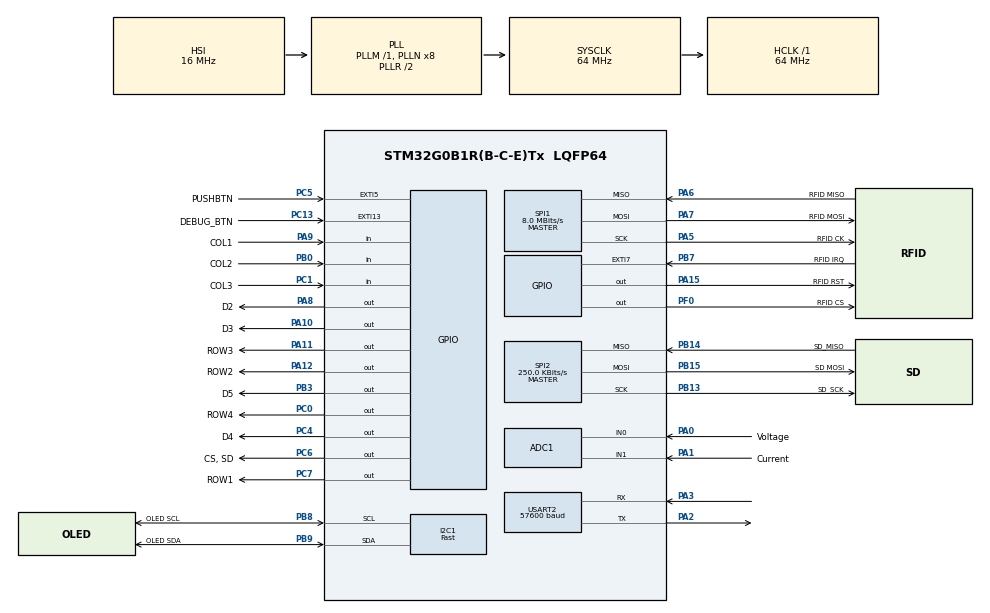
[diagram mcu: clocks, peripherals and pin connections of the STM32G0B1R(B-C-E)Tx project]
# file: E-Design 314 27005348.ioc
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ADC1.Channel-2\#ChannelRegularConversion=ADC_CHANNEL_0
ADC1.Channel-3\#ChannelRegularConversion=ADC_CHANNEL_1
ADC1.ClockPrescaler=ADC_CLOCK_SYNC_PCLK_DIV2
ADC1.DMAContinuousRequests=ENABLE
ADC1.DiscontinuousConvMode=DISABLE
ADC1.ExternalTrigConv=ADC_EXTERNALTRIG_T2_TRGO
ADC1.NbrOfConversion=2
ADC1.NbrOfConversionFlag=1
ADC1.Rank-2\#ChannelRegularConversion=1
ADC1.Rank-3\#ChannelRegularConversion=2
ADC1.SamplingTime-2\#ChannelRegularConversion=ADC_SAMPLINGTIME_COMMON_1
ADC1.SamplingTime-3\#ChannelRegularConversion=ADC_SAMPLINGTIME_COMMON_1
ADC1.SamplingTimeCommon1=ADC_SAMPLETIME_12CYCLES_5
ADC1.SamplingTimeCommon2=ADC_SAMPLETIME_12CYCLES_5
ADC1.SelectedChannel=ADC_CHANNEL_0|ADC_CHANNEL_1
ADC1.TriggerFrequencyMode=ADC_TRIGGER_FREQ_HIGH
ADC1.master=1
Dma.ADC1.0.Direction=DMA_PERIPH_TO_MEMORY
Dma.ADC1.0.EventEnable=DISABLE
Dma.ADC1.0.Instance=DMA1_Channel1
Dma.ADC1.0.MemDataAlignment=DMA_MDATAALIGN_HALFWORD
Dma.ADC1.0.MemInc=DMA_MINC_ENABLE
Dma.ADC1.0.Mode=DMA_CIRCULAR
Dma.ADC1.0.PeriphDataAlignment=DMA_PDATAALIGN_HALFWORD
Dma.ADC1.0.PeriphInc=DMA_PINC_DISABLE
Dma.ADC1.0.Polarity=HAL_DMAMUX_REQ_GEN_RISING
Dma.ADC1.0.Priority=DMA_PRIORITY_MEDIUM
Dma.ADC1.0.RequestNumber=1
Dma.ADC1.0.SignalID=NONE
Dma.ADC1.0.SyncEnable=DISABLE
Dma.ADC1.0.SyncPolarity=HAL_DMAMUX_SYNC_NO_EVENT
Dma.ADC1.0.SyncRequestNumber=1
Dma.ADC1.0.SyncSignalID=NONE
Dma.I2C1_TX.1.Direction=DMA_MEMORY_TO_PERIPH
Dma.I2C1_TX.1.EventEnable=DISABLE
Dma.I2C1_TX.1.Instance=DMA2_Channel1
Dma.I2C1_TX.1.MemDataAlignment=DMA_MDATAALIGN_BYTE
Dma.I2C1_TX.1.MemInc=DMA_MINC_ENABLE
Dma.I2C1_TX.1.Mode=DMA_NORMAL
Dma.I2C1_TX.1.PeriphDataAlignment=DMA_PDATAALIGN_BYTE
Dma.I2C1_TX.1.PeriphInc=DMA_PINC_DISABLE
Dma.I2C1_TX.1.Polarity=HAL_DMAMUX_REQ_GEN_RISING
Dma.I2C1_TX.1.Priority=DMA_PRIORITY_LOW
Dma.I2C1_TX.1.RequestNumber=1
Dma.I2C1_TX.1.SignalID=NONE
Dma.I2C1_TX.1.SyncEnable=DISABLE
Dma.I2C1_TX.1.SyncPolarity=HAL_DMAMUX_SYNC_NO_EVENT
Dma.I2C1_TX.1.SyncRequestNumber=1
Dma.I2C1_TX.1.SyncSignalID=NONE
Dma.Request0=ADC1
Dma.Request1=I2C1_TX
I2C1.I2C_Speed_Mode=I2C_Fast
I2C1.Timing=0x00C12166
Mcu.Family=STM32G0
Mcu.Name=STM32G0B1R(B-C-E)Tx
Mcu.Package=LQFP64
NVIC.DMA1_Ch4_7_DMA2_Ch1_5_DMAMUX1_OVR_IRQn=true\:0\:0\:false\:false\:true\:false\:true\:true
NVIC.DMA1_Channel1_IRQn=true\:1\:0\:true\:false\:true\:false\:true\:true
NVIC.EXTI4_15_IRQn=true\:1\:0\:true\:false\:true\:true\:true\:true
NVIC.I2C1_IRQn=true\:0\:0\:true\:false\:true\:true\:true\:true
NVIC.RTC_TAMP_IRQn=true\:0\:0\:false\:false\:true\:true\:true\:true
NVIC.USART2_LPUART2_IRQn=true\:0\:0\:true\:false\:true\:true\:true\:true
PA0.GPIO_Label=Voltage
PA0.Mode=IN0
PA0.Signal=ADC1_IN0
PA1.GPIO_Label=Current
PA1.Mode=IN1
PA1.Signal=ADC1_IN1
PA10.GPIO_Label=D3
PA10.Signal=GPIO_Output
PA11\ [PA9].GPIO_Label=ROW3
PA11\ [PA9].Signal=GPIO_Output
PA12\ [PA10].GPIO_Label=ROW2
PA12\ [PA10].Signal=GPIO_Output
PA15.GPIO_Label=RFID RST
PA15.Signal=GPIO_Output
PA2.Mode=Asynchronous
PA2.Signal=USART2_TX
PA3.Mode=Asynchronous
PA3.Signal=USART2_RX
PA5.GPIO_Label=RFID CK
PA5.Mode=Full_Duplex_Master
PA5.Signal=SPI1_SCK
PA6.GPIO_Label=RFID MISO
PA6.Mode=Full_Duplex_Master
PA6.Signal=SPI1_MISO
PA7.GPIO_Label=RFID MOSI
PA7.Mode=Full_Duplex_Master
PA7.Signal=SPI1_MOSI
PA8.GPIO_Label=D2
PA8.Signal=GPIO_Output
PA9.GPIO_Label=COL1
PA9.GPIO_PuPd=GPIO_PULLDOWN
PA9.Signal=GPIO_Input
PB0.GPIO_Label=COL2
PB0.GPIO_PuPd=GPIO_PULLDOWN
PB0.Signal=GPIO_Input
PB13.GPIO_Label=SD_SCK
PB13.GPIO_PuPd=GPIO_NOPULL
PB13.Mode=Full_Duplex_Master
PB13.PinState=GPIO_PIN_RESET
PB13.Signal=SPI2_SCK
PB14.GPIO_Label=SD_MISO
PB14.GPIO_PuPd=GPIO_NOPULL
PB14.Mode=Full_Duplex_Master
PB14.PinState=GPIO_PIN_RESET
PB14.Signal=SPI2_MISO
PB15.GPIO_Label=SD MOSI
PB15.GPIO_PuPd=GPIO_NOPULL
PB15.Mode=Full_Duplex_Master
PB15.PinState=GPIO_PIN_RESET
PB15.Signal=SPI2_MOSI
PB3.GPIO_Label=D5
PB3.Signal=GPIO_Output
PB7.GPIO_Label=RFID IRQ
PB7.GPIO_ModeDefaultEXTI=GPIO_MODE_IT_FALLING
PB7.GPIO_PuPd=GPIO_PULLUP
PB7.Signal=GPXTI7
PB8.GPIO_Label=OLED SCL
PB8.Mode=I2C
PB8.Signal=I2C1_SCL
PB9.GPIO_Label=OLED SDA
PB9.Mode=I2C
PB9.Signal=I2C1_SDA
PC0.GPIO_Label=ROW4
PC0.Signal=GPIO_Output
PC1.GPIO_Label=COL3
PC1.GPIO_PuPd=GPIO_PULLDOWN
PC1.Signal=GPIO_Input
PC13.GPIO_Label=DEBUG_BTN
PC13.GPIO_ModeDefaultEXTI=GPIO_MODE_IT_FALLING
PC13.Signal=GPXTI13
PC14-OSC32_IN\ (PC14).Mode=LSE-External-Oscillator
PC14-OSC32_IN\ (PC14).Signal=RCC_OSC32_IN
PC15-OSC32_OUT\ (PC15).Mode=LSE-External-Oscillator
PC15-OSC32_OUT\ (PC15).Signal=RCC_OSC32_OUT
PC4.GPIO_Label=D4
PC4.Signal=GPIO_Output
PC5.GPIO_Label=PUSHBTN
PC5.GPIO_ModeDefaultEXTI=GPIO_MODE_IT_FALLING
PC5.GPIO_PuPd=GPIO_PULLUP
PC5.Signal=GPXTI5
PC6.GPIO_Label=CS, SD
PC6.GPIO_PuPd=GPIO_PULLUP
PC6.PinState=GPIO_PIN_RESET
PC6.Signal=GPIO_Output
PC7.GPIO_Label=ROW1
PC7.Signal=GPIO_Output
PF0-OSC_IN\ (PF0).GPIO_Label=RFID CS
PF0-OSC_IN\ (PF0).GPIO_PuPd=GPIO_NOPULL
PF0-OSC_IN\ (PF0).Signal=GPIO_Output
ProjectManager.HeapSize=0x200
ProjectManager.StackSize=0x400
ProjectManager.TargetToolchain=STM32CubeIDE
RCC.ADCFreq_Value=64000000
RCC.AHBFreq_Value=64000000
RCC.CortexFreq_Value=64000000
RCC.EXTERNAL_CLOCK_VALUE=48000
RCC.HCLKFreq_Value=64000000
RCC.HSE_VALUE=8000000
RCC.HSI48_VALUE=48000000
RCC.HSI_VALUE=16000000
RCC.PLLP=RCC_PLLP_DIV32
RCC.RTCClockSelection=RCC_RTCCLKSOURCE_LSE
RCC.SYSCLKFreq_VALUE=64000000
RCC.SYSCLKSource=RCC_SYSCLKSOURCE_PLLCLK
RCC.USBFreq_Value=48000000
RCC.VCOOutputFreq_Value=128000000
RTC.WakeUpClock-WakeUp=RTC_WAKEUPCLOCK_RTCCLK_DIV16
RTC.WakeUpCounter-WakeUp=1023
SPI1.BaudRatePrescaler=SPI_BAUDRATEPRESCALER_8
SPI1.CalculateBaudRate=8.0 MBits/s
SPI1.Direction=SPI_DIRECTION_2LINES
SPI1.Mode=SPI_MODE_MASTER
SPI1.VirtualType=VM_MASTER
SPI2.BaudRatePrescaler=SPI_BAUDRATEPRESCALER_256
SPI2.CalculateBaudRate=250.0 KBits/s
SPI2.Direction=SPI_DIRECTION_2LINES
SPI2.Mode=SPI_MODE_MASTER
SPI2.VirtualType=VM_MASTER
TIM2.AutoReloadPreload=TIM_AUTORELOAD_PRELOAD_DISABLE
TIM2.Period=799
TIM2.Prescaler=15
TIM2.TIM_MasterOutputTrigger=TIM_TRGO_UPDATE
TIM2.TIM_MasterSlaveMode=TIM_MASTERSLAVEMODE_ENABLE
USART2.BaudRate=57600
USART2.Parity=PARITY_EVEN
USART2.VirtualMode-Asynchronous=VM_ASYNC
USART2.WordLength=WORDLENGTH_9B
VP_FATFS_VS_Generic.Mode=User_defined
VP_RTC_VS_RTC_Activate.Mode=RTC_Enabled
VP_RTC_VS_RTC_WakeUp_intern.Mode=WakeUp
VP_SYS_VS_DBSignals.Mode=DisableDeadBatterySignals
VP_TIM2_VS_ClockSourceINT.Mode=Internal
board=custom

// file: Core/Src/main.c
/* USER CODE BEGIN Header */
/**
 ******************************************************************************
 * @file           : main.c
 * @brief          : Main program body
 ******************************************************************************
 * @attention
 *
 * Copyright (c) 2025 STMicroelectronics.
 * All rights reserved.
 *
 * This software is licensed under terms that can be found in the LICENSE file
 * in the root directory of this software component.
 * If no LICENSE file comes with this software, it is provided AS-IS.
 *
 ******************************************************************************
 */
/* USER CODE END Header */
#include "main.h"
#include "app_fatfs.h"

/* USER CODE BEGIN Includes */
#include "../../Drivers/OLED/ssd1306.h"
#include "../../Drivers/OLED/fonts.h"
#include "../../Drivers/MFC522/RC522.h"
#include <stdio.h>
#include <math.h>
#include <ctype.h>
/* USER CODE END Includes */

ADC_HandleTypeDef hadc1;
DMA_HandleTypeDef hdma_adc1;

I2C_HandleTypeDef hi2c1;
DMA_HandleTypeDef hdma_i2c1_tx;

RTC_HandleTypeDef hrtc;

SPI_HandleTypeDef hspi1;
SPI_HandleTypeDef hspi2;

TIM_HandleTypeDef htim2;

UART_HandleTypeDef huart2;

void SystemClock_Config(void);
static void MX_GPIO_Init(void);
static void MX_DMA_Init(void);
static void MX_USART2_UART_Init(void);
static void MX_RTC_Init(void);
static void MX_ADC1_Init(void);
static void MX_TIM2_Init(void);
static void MX_I2C1_Init(void);
static void MX_SPI1_Init(void);
static void MX_SPI2_Init(void);
/* USER CODE BEGIN PFP */
void dump_file(TCHAR *filename);
/* USER CODE END PFP */

/* USER CODE BEGIN 0 */
char studentNum[] = "*27005348#\n";
uint8_t rx;					//recieve a single byte here
uint8_t input_buf_len = 0;  //current length of input buffer
uint8_t input_buffer[16];	//input buffer

uint16_t waves[400];		//buffer for ADC readings

float currentReal = 0; //most recent converted voltage (V)
float voltageReal = 0; //most recent converted current (mA)
float phaseReal = 0;   //most recent phase difference (thetaV-thetaA) (rad)

float currentAvg = 0;
float voltageAvg = 0;
float powAvg = 0;
float phaseAvg = 0;
uint8_t n = 0;

volatile uint8_t stat_ready = 0;          //flag for stat command to be sent
volatile uint8_t dump_ready = 0;
volatile uint8_t logging = 0;
volatile uint8_t count_units = 1;

volatile uint8_t push_button_pressed = 0; //flag to check if push button has been pressed
volatile uint32_t button_time = 0;        //time since last push button reading

volatile uint8_t debug_button_pressed = 0;
volatile uint32_t debug_button_time = 0;
uint8_t debug_screen = 0;

volatile uint32_t last_keypad_poll = 0;   //time since last polled keypad
uint16_t keypad_mask = 0; //12 bits representing which keys are currently pressed - not used right now
volatile uint8_t num_keys = 0;			 //number of key presses left to process
volatile char key_buffer[10];	//buffer of all keys that need to be processed

enum menu {
	topmenu, lvl1, lvl2, lvl3,
};
enum menu menupos = topmenu;			//current position in menu tree
uint8_t menu_states[4] = { 0, 0, 0, 0 }; //current and previous states in the menu tree

uint32_t last_screen_update = 0;      //time since last frame

uint32_t newunits;
float units_left = 10.0099;
float prevUnits = 10.0099;

uint8_t status, rfid_data[16];
uint8_t valid_keycard[5] = { 0xf6, 0xf1, 0x4d, 0x05, 0x4f };
uint8_t valid_keyfob[5] = { 0xc5, 0x2a, 0xb1, 0x01, 0x5f };
uint8_t valid_studentcard[5] = { 73, 81, 94, 124, 58 };
int32_t rfid_timeout = -5000;
uint32_t rfid_evt = 0;
enum rfid_states {
	poll, anti_collision, target,
};
enum rfid_states rfid_state = poll;

static FATFS FatFs;
FIL fil;
FRESULT fres;
UINT bw = 0;
uint8_t log_len = 0;
char logbuff[300] = { 0 };

uint32_t ADC_back_on = -1000;

/* USER CODE END 0 */

int main(void)
{

  /* MCU Configuration--------------------------------------------------------*/

  /* Reset of all peripherals, Initializes the Flash interface and the Systick. */
  HAL_Init();

  /* Configure the system clock */
  SystemClock_Config();

  /* Initialize all configured peripherals */
  MX_GPIO_Init();
  MX_DMA_Init();
  MX_USART2_UART_Init();
  MX_RTC_Init();
  MX_ADC1_Init();
  MX_TIM2_Init();
  MX_I2C1_Init();
  MX_SPI1_Init();
  if (MX_FATFS_Init() != APP_OK) {
    Error_Handler();
  }
  MX_SPI2_Init();
  /* USER CODE BEGIN 2 */
	//reset RFID reader
	MFRC522_Init();
	deactivateAntenna();

	HAL_ADC_Start_DMA(&hadc1, (uint32_t*) waves, 400);
	HAL_TIM_Base_Start(&htim2);

	while (HAL_GetTick() <= 100)
		;      //make sure its been 100ms minimum

	ssd1306_Init();
	ssd1306_FlipScreenVertically();
	ssd1306_SetColor(White);

	HAL_UART_Transmit_IT(&huart2, (uint8_t*) studentNum,
			sizeof(studentNum) - 1);      //transmit student num
	HAL_UART_Receive_IT(&huart2, &rx, 1);      //get ready to recieve a byte

	// Try mounting the filesystem
	fres = f_mount(&FatFs, "", 1);
	if (fres != FR_OK) {
		//all hope is lost
		//HAL_GPIO_TogglePin(D4_GPIO_Port, D4_Pin); // Signal error
	}

	fres = f_open(&fil, "log.csv", FA_READ);

	UINT bytesRead;
	char last_units[7] = { 0 };
	if (fres == FR_OK) {//try open, and only work if the file has data in it.
		if (f_size(&fil) > 8) {
			f_lseek(&fil, f_size(&fil) - 8);
			fres = f_read(&fil, last_units, 7, &bytesRead);
		}
		f_close(&fil);

		units_left = atof(last_units);
		if (units_left == 0 && last_units[3] != '.') {//if atof failed fr and not because units ran out (Should never happen again)
			units_left = 10.0099;
		}
		prevUnits = units_left;

	}

  /* USER CODE END 2 */

  /* Infinite loop */
	while (1) {

    /* USER CODE BEGIN 3 */
		if (log_len > 0) {
			//Try sneak in a log if possible
			UINT bytesWritten;
			HAL_TIM_Base_Stop(&htim2);
			fres = f_open(&fil, "log.csv", FA_WRITE | FA_OPEN_APPEND);
			if (fres != FR_OK) {
				break;
			}
			fres = f_write(&fil, logbuff, log_len, &bytesWritten);
			if (fres == FR_OK) {
				log_len = 0;
			}
			f_close(&fil);
			ADC_back_on = HAL_GetTick();

		}

		if (HAL_GetTick() - ADC_back_on > 220
				&& HAL_GetTick() - ADC_back_on < 1220) {
			ADC_back_on -= 1000;
			HAL_TIM_Base_Start_IT(&htim2);
		}

		if (round(prevUnits * 1000.0) - round(units_left * 1000) >= 0.001) { //TODO CHECK IF ROUND INSTEAD OF FLOOR
			prevUnits = units_left;
			HAL_GPIO_TogglePin(D4_GPIO_Port, D4_Pin);
		}

		if (HAL_GetTick() - rfid_timeout < 5000
				&& HAL_GetTick() - rfid_evt > 50) {
			rfid_evt = HAL_GetTick();
			if (rfid_state == poll) {
				if (status == MI_OK) {
					status = MFRC522_Anticoll(rfid_data);
					rfid_state++;

				} else {
					status = MFRC522_Request(PICC_REQIDL, rfid_data);
				}
			} else if (rfid_state == anti_collision) {
				if (status == MI_OK) {
					status = MFRC522_SelectTag(rfid_data);
					rfid_state++;

				} else {
					status = MFRC522_Request(PICC_REQIDL, rfid_data);
				}
			} else {
				if (status != MI_OK) {
					if (strncmp((char*) rfid_data, (char*) valid_keycard, 5)
							== 0
							|| strncmp((char*) rfid_data, (char*) valid_keyfob,
									5) == 0
							|| strncmp((char*) rfid_data,
									(char*) valid_studentcard, 5) == 0) {
						deactivateAntenna();
						if (menu_states[lvl3] == 1) {
							count_units = 1;
						} else if (menu_states[lvl3] == 2) {
							count_units = 0;
						} else if (menu_states[lvl3] == 3) {
							add_units(newunits);
						}
						newunits = 0;
						HAL_GPIO_WritePin(D5_GPIO_Port, D5_Pin, GPIO_PIN_SET);
						rfid_timeout -= 5000;
					} else {
						status = MFRC522_Request(PICC_REQIDL, rfid_data);
					}
					rfid_state = poll;

				} else {
					status = MFRC522_Request(PICC_REQIDL, rfid_data);
				}

			}

		} else if (HAL_GetTick() - rfid_timeout > 5000
				&& HAL_GetTick() - rfid_timeout < 5100) {
			deactivateAntenna();
			rfid_timeout -= 5000;
		}     //TODO maybe use this to get a seperate page for RFID verification

		if (stat_ready) {
			stats();
			stat_ready = 0;
		}

		if (dump_ready) {
			dump_file("log.csv");
		}
		if (num_keys > 0) {
			if (menupos == topmenu) {
				switch (key_buffer[num_keys]) {
				case '0':
				case '1':
				case '2':
				case '3':
					menu_states[topmenu] =
							(uint8_t) (key_buffer[num_keys] - '0');
					break;
				case '*':
					menupos = lvl1;
					menu_states[menupos] = 1;
				}
			} else if (menupos == lvl1) {
				switch (key_buffer[num_keys]) {
				case '#':
					menupos = topmenu;
					break;
				case '1':
					menupos = lvl2;
					menu_states[menupos] = 1;
					break;
				case '2':
					menupos = lvl2;
					menu_states[menupos] = 4;
					break;
				}
			} else if (menupos == lvl2) {
				switch (key_buffer[num_keys]) {
				case '#':
					menupos = lvl1;
					break;
				case '1':
				case '2':
					if (menu_states[menupos] < 4) {
						menu_states[menupos] = key_buffer[num_keys] - '0' + 1;
					} else if (menu_states[menupos] == 4) {
						menupos = lvl3;
						newunits = 0;
						menu_states[menupos] = (key_buffer[num_keys] - '1') * 3;
					}
					break;
				case '*':
					if (menu_states[menupos] == 2) {
						toggle_load(on);

						menupos = topmenu;
						menu_states[menupos] = 0;
					} else if (menu_states[menupos] == 3) {
						toggle_load(off);

						menupos = topmenu;
						menu_states[menupos] = 0;
					}
					break;
				}

			} else if (menupos == lvl3) {
				switch (key_buffer[num_keys]) {
				case '#':
					menupos = lvl2;
					newunits = 0;
					break;
				case '*':
					if (menu_states[menupos] > 0 && menu_states[menupos] <= 3
							&& !(menu_states[menupos] == 3 && newunits == 0)) {
						rfid_timeout = HAL_GetTick();
						activateAntenna();
						rfid_state = poll;
						status = MFRC522_Request(PICC_REQIDL, rfid_data);
					} else {      //don't returrn to top if nothing is selected
						break;
					}
					menupos = topmenu;
					menu_states[menupos] = 0;
					break;
				case '1':
				case '2':
					if (menu_states[menupos] < 3) {
						menu_states[menupos] = key_buffer[num_keys] - '0';
						break;
					}
				default:
					add_unit_digit(key_buffer[num_keys] - '0');
					break;
				}

			}
			num_keys--;
		}

		if (push_button_pressed) {
			if (HAL_GetTick() - button_time > 25) {
				if (!HAL_GPIO_ReadPin(GPIOC, GPIO_PIN_5))
					toggle_load(toggle);
				push_button_pressed = 0;
			}
		}

		if (debug_button_pressed) {
			if (HAL_GetTick() - debug_button_time > 25) {
				if (!HAL_GPIO_ReadPin(DEBUG_BTN_GPIO_Port, DEBUG_BTN_Pin))
					//f_mount(NULL, "", 0);
					debug_screen = (debug_screen + 1) % 12;
				debug_button_pressed = 0;
			}
		}

		if (HAL_GetTick() - last_keypad_poll > 25) {
			last_keypad_poll = HAL_GetTick();
			poll_keypad();
		}

		if (HAL_GetTick() - last_screen_update > 100) {
			last_screen_update = HAL_GetTick();

			char temp_buff[22];
			if (debug_screen) {
				ssd1306_Clear();
				switch (debug_screen) {
				case 1:
					for (uint8_t row = 0; row < 32; row++) {
						ssd1306_DrawPixel(waves[row] / 32, row);
					}
					break;
				case 2:
					for (uint8_t col = 0; col < 120; col++) {
						ssd1306_DrawPixel(col, 32 - waves[col] / 128);
					}
					break;

				default:
					for (uint8_t col = 0; col < 120; col++) {
						ssd1306_DrawPixel(col,
								(waves[0] - waves[col])
										/ (1 << (debug_screen - 3)) + 16);
					}
					ssd1306_SetCursor(0, 0);
					ssd1306_SetColor(Black);
					ssd1306_DrawRect(0, 0, 28, 10);
					ssd1306_SetColor(White);
					sprintf(studentNum, "%4d", waves[0]);
					ssd1306_WriteString(studentNum, Font_7x10);

					ssd1306_SetCursor(0, 20);
					ssd1306_SetColor(Black);
					ssd1306_DrawRect(0, 20, 14, 10);
					ssd1306_SetColor(White);
					sprintf(studentNum, "%2d", 1 << (debug_screen - 3));
					ssd1306_WriteString(studentNum, Font_7x10);
					break;

				}

			} else if (HAL_GetTick() - rfid_timeout < 5000) {
				ssd1306_Clear();
				ssd1306_SetCursor(0, 0);
				ssd1306_WriteString("Present Tag/Card  ", Font_7x10);
				uint32_t length = (5000 - HAL_GetTick() + rfid_timeout) * (128)
						/ 5000;
				ssd1306_DrawHorizontalLine(0, 15, (int16_t) length);
			} else if (menupos == topmenu && menu_states[menupos] == 0) {
				ssd1306_SetCursor(0, 0);
				sprintf(temp_buff, "Apparent:  %04.0fVA ",
						voltageReal * currentReal / 1000.0);
				ssd1306_WriteString(temp_buff, Font_7x10);

				ssd1306_SetCursor(0, 10);
				sprintf(temp_buff, "Energy/d: 00000Wh ");
				ssd1306_WriteString(temp_buff, Font_7x10);

				ssd1306_SetCursor(0, 20);
				sprintf(temp_buff, "Units: %07.3fkWh ", units_left);
				ssd1306_WriteString(temp_buff, Font_7x10);

			} else if (menupos == topmenu && menu_states[menupos] == 1) {
				ssd1306_SetCursor(0, 0);
				sprintf(temp_buff, "Voltage:   %05.1fV ", voltageReal);
				ssd1306_WriteString(temp_buff, Font_7x10);

				ssd1306_SetCursor(0, 10);
				sprintf(temp_buff, "Current:  %05.0fmA ", currentReal);
				ssd1306_WriteString(temp_buff, Font_7x10);

				ssd1306_SetCursor(0, 20);
				sprintf(temp_buff, "Phase:  % 06.3fRad ", phaseReal);
				ssd1306_WriteString(temp_buff, Font_7x10);
			} else if (menupos == topmenu && menu_states[menupos] == 2) {
				float power_fact = fabs(cos(phaseReal));
				float apparent = voltageReal * currentReal / 1000.0;
				ssd1306_SetCursor(0, 0);
				sprintf(temp_buff, "Real:       %04.0fW ",
						apparent * power_fact);
				ssd1306_WriteString(temp_buff, Font_7x10);

				ssd1306_SetCursor(0, 10);
				sprintf(temp_buff, "Reactive:% 05.0fVAR ",
						apparent * sin(phaseReal));
				ssd1306_WriteString(temp_buff, Font_7x10);

				ssd1306_SetCursor(0, 20);
				sprintf(temp_buff, "PowerFact:  %05.3f ", power_fact);
				ssd1306_WriteString(temp_buff, Font_7x10);
			} else if (menupos == topmenu && menu_states[menupos] == 3) {
				RTC_DateTypeDef currDate;
				RTC_TimeTypeDef currTime;
				HAL_RTC_GetTime(&hrtc, &currTime, RTC_FORMAT_BIN);
				HAL_RTC_GetDate(&hrtc, &currDate, RTC_FORMAT_BIN);

				ssd1306_SetCursor(0, 0);
				sprintf(temp_buff, "%02u:%02u:%02u %02u/%02u/%02u ",
						currTime.Hours, currTime.Minutes, currTime.Seconds,
						currDate.Year, currDate.Month, currDate.Date);
				ssd1306_WriteString(temp_buff, Font_7x10);

				ssd1306_SetCursor(0, 10);
				sprintf(temp_buff, "Max power:  3000W ");
				ssd1306_WriteString(temp_buff, Font_7x10);

				ssd1306_SetCursor(0, 20);
				sprintf(temp_buff, "Min Units: 010kWh ");
				ssd1306_WriteString(temp_buff, Font_7x10);
			} else if (menupos == lvl1 && menu_states[menupos] == 1) {
				ssd1306_SetCursor(0, 0);
				ssd1306_WriteString("Menu(Lv1 1):      ", Font_7x10);

				ssd1306_SetCursor(0, 10);
				ssd1306_WriteString("1: Load On/Off    ", Font_7x10);

				ssd1306_SetCursor(0, 20);
				ssd1306_WriteString("2: manage Units   ", Font_7x10);
			} else if (menupos == lvl2 && menu_states[menupos] < 4) {
				ssd1306_SetCursor(0, 0);
				ssd1306_WriteString("Load on/off       ", Font_7x10);

				ssd1306_SetCursor(0, 10);
				switch (menu_states[menupos]) {
				case 1:
					ssd1306_WriteString("1=ON     2=OFF    ", Font_7x10);
					break;
				case 2:
					ssd1306_WriteString("1=ON#    2=OFF    ", Font_7x10);
					break;
				case 3:
					ssd1306_WriteString("1=ON     2=OFF#   ", Font_7x10);
					break;
				}
				ssd1306_SetCursor(0, 20);
				ssd1306_WriteString("'*' to confirm    ", Font_7x10);
			} else if (menupos == lvl2 && menu_states[menupos] == 4) {
				ssd1306_SetCursor(0, 0);
				ssd1306_WriteString("Menu(Lv1 2):      ", Font_7x10);

				ssd1306_SetCursor(0, 10);
				ssd1306_WriteString("1: Count On/Off   ", Font_7x10);

				ssd1306_SetCursor(0, 20);
				ssd1306_WriteString("2: Add Units      ", Font_7x10);
			} else if (menupos == lvl3 && menu_states[menupos] < 3) {
				ssd1306_SetCursor(0, 0);
				ssd1306_WriteString("Unit Count on/off ", Font_7x10);

				ssd1306_SetCursor(0, 10);
				switch (menu_states[menupos]) {
				case 0:
					ssd1306_WriteString("1=ON     2=OFF    ", Font_7x10);
					break;
				case 1:
					ssd1306_WriteString("1=ON#    2=OFF    ", Font_7x10);
					break;
				case 2:
					ssd1306_WriteString("1=ON     2=OFF#   ", Font_7x10);
					break;
				}
				ssd1306_SetCursor(0, 20);
				ssd1306_WriteString("'*' to confirm    ", Font_7x10);
			} else if (menupos == lvl3 && menu_states[menupos] == 3) {
				ssd1306_SetCursor(0, 0);
				ssd1306_WriteString("Units to add:     ", Font_7x10);

				ssd1306_SetCursor(0, 10);
				sprintf(temp_buff, "%-19lu", newunits);
				ssd1306_WriteString(temp_buff, Font_7x10);

				ssd1306_SetCursor(0, 20);
				ssd1306_WriteString("Press '*' to add  ", Font_7x10);
			} else { //Debug step - if state machine has impossible states, screen goes black
				ssd1306_Clear();
			}
			ssd1306_UpdateScreen();
			last_screen_update = HAL_GetTick();
		}
	}
  /* USER CODE END 3 */
}

void SystemClock_Config(void)
{
  RCC_OscInitTypeDef RCC_OscInitStruct = {0};
  RCC_ClkInitTypeDef RCC_ClkInitStruct = {0};

  /** Configure the main internal regulator output voltage
  */
  HAL_PWREx_ControlVoltageScaling(PWR_REGULATOR_VOLTAGE_SCALE1);

  /** Configure LSE Drive Capability
  */
  HAL_PWR_EnableBkUpAccess();
  __HAL_RCC_LSEDRIVE_CONFIG(RCC_LSEDRIVE_LOW);

  /** Initializes the RCC Oscillators according to the specified parameters
  * in the RCC_OscInitTypeDef structure.
  */
  RCC_OscInitStruct.OscillatorType = RCC_OSCILLATORTYPE_HSI|RCC_OSCILLATORTYPE_LSE;
  RCC_OscInitStruct.LSEState = RCC_LSE_ON;
  RCC_OscInitStruct.HSIState = RCC_HSI_ON;
  RCC_OscInitStruct.HSIDiv = RCC_HSI_DIV1;
  RCC_OscInitStruct.HSICalibrationValue = RCC_HSICALIBRATION_DEFAULT;
  RCC_OscInitStruct.PLL.PLLState = RCC_PLL_ON;
  RCC_OscInitStruct.PLL.PLLSource = RCC_PLLSOURCE_HSI;
  RCC_OscInitStruct.PLL.PLLM = RCC_PLLM_DIV1;
  RCC_OscInitStruct.PLL.PLLN = 8;
  RCC_OscInitStruct.PLL.PLLP = RCC_PLLP_DIV32;
  RCC_OscInitStruct.PLL.PLLQ = RCC_PLLQ_DIV2;
  RCC_OscInitStruct.PLL.PLLR = RCC_PLLR_DIV2;
  if (HAL_RCC_OscConfig(&RCC_OscInitStruct) != HAL_OK)
  {
    Error_Handler();
  }

  /** Initializes the CPU, AHB and APB buses clocks
  */
  RCC_ClkInitStruct.ClockType = RCC_CLOCKTYPE_HCLK|RCC_CLOCKTYPE_SYSCLK
                              |RCC_CLOCKTYPE_PCLK1;
  RCC_ClkInitStruct.SYSCLKSource = RCC_SYSCLKSOURCE_PLLCLK;
  RCC_ClkInitStruct.AHBCLKDivider = RCC_SYSCLK_DIV1;
  RCC_ClkInitStruct.APB1CLKDivider = RCC_HCLK_DIV1;

  if (HAL_RCC_ClockConfig(&RCC_ClkInitStruct, FLASH_LATENCY_2) != HAL_OK)
  {
    Error_Handler();
  }
}

static void MX_ADC1_Init(void)
{

  ADC_ChannelConfTypeDef sConfig = {0};

  /** Configure the global features of the ADC (Clock, Resolution, Data Alignment and number of conversion)
  */
  hadc1.Instance = ADC1;
  hadc1.Init.ClockPrescaler = ADC_CLOCK_SYNC_PCLK_DIV2;
  hadc1.Init.Resolution = ADC_RESOLUTION_12B;
  hadc1.Init.DataAlign = ADC_DATAALIGN_RIGHT;
  hadc1.Init.ScanConvMode = ADC_SCAN_ENABLE;
  hadc1.Init.EOCSelection = ADC_EOC_SINGLE_CONV;
  hadc1.Init.LowPowerAutoWait = DISABLE;
  hadc1.Init.LowPowerAutoPowerOff = DISABLE;
  hadc1.Init.ContinuousConvMode = DISABLE;
  hadc1.Init.NbrOfConversion = 2;
  hadc1.Init.DiscontinuousConvMode = DISABLE;
  hadc1.Init.ExternalTrigConv = ADC_EXTERNALTRIG_T2_TRGO;
  hadc1.Init.ExternalTrigConvEdge = ADC_EXTERNALTRIGCONVEDGE_RISING;
  hadc1.Init.DMAContinuousRequests = ENABLE;
  hadc1.Init.Overrun = ADC_OVR_DATA_PRESERVED;
  hadc1.Init.SamplingTimeCommon1 = ADC_SAMPLETIME_12CYCLES_5;
  hadc1.Init.SamplingTimeCommon2 = ADC_SAMPLETIME_12CYCLES_5;
  hadc1.Init.OversamplingMode = DISABLE;
  hadc1.Init.TriggerFrequencyMode = ADC_TRIGGER_FREQ_HIGH;
  if (HAL_ADC_Init(&hadc1) != HAL_OK)
  {
    Error_Handler();
  }

  /** Configure Regular Channel
  */
  sConfig.Channel = ADC_CHANNEL_0;
  sConfig.Rank = ADC_REGULAR_RANK_1;
  sConfig.SamplingTime = ADC_SAMPLINGTIME_COMMON_1;
  if (HAL_ADC_ConfigChannel(&hadc1, &sConfig) != HAL_OK)
  {
    Error_Handler();
  }

  /** Configure Regular Channel
  */
  sConfig.Channel = ADC_CHANNEL_1;
  sConfig.Rank = ADC_REGULAR_RANK_2;
  if (HAL_ADC_ConfigChannel(&hadc1, &sConfig) != HAL_OK)
  {
    Error_Handler();
  }

}

static void MX_I2C1_Init(void)
{

  hi2c1.Instance = I2C1;
  hi2c1.Init.Timing = 0x00C12166;
  hi2c1.Init.OwnAddress1 = 0;
  hi2c1.Init.AddressingMode = I2C_ADDRESSINGMODE_7BIT;
  hi2c1.Init.DualAddressMode = I2C_DUALADDRESS_DISABLE;
  hi2c1.Init.OwnAddress2 = 0;
  hi2c1.Init.OwnAddress2Masks = I2C_OA2_NOMASK;
  hi2c1.Init.GeneralCallMode = I2C_GENERALCALL_DISABLE;
  hi2c1.Init.NoStretchMode = I2C_NOSTRETCH_DISABLE;
  if (HAL_I2C_Init(&hi2c1) != HAL_OK)
  {
    Error_Handler();
  }

  /** Configure Analogue filter
  */
  if (HAL_I2CEx_ConfigAnalogFilter(&hi2c1, I2C_ANALOGFILTER_ENABLE) != HAL_OK)
  {
    Error_Handler();
  }

  /** Configure Digital filter
  */
  if (HAL_I2CEx_ConfigDigitalFilter(&hi2c1, 0) != HAL_OK)
  {
    Error_Handler();
  }

}

static void MX_RTC_Init(void)
{

  /** Initialize RTC Only
  */
  hrtc.Instance = RTC;
  hrtc.Init.HourFormat = RTC_HOURFORMAT_24;
  hrtc.Init.AsynchPrediv = 127;
  hrtc.Init.SynchPrediv = 255;
  hrtc.Init.OutPut = RTC_OUTPUT_DISABLE;
  hrtc.Init.OutPutRemap = RTC_OUTPUT_REMAP_NONE;
  hrtc.Init.OutPutPolarity = RTC_OUTPUT_POLARITY_HIGH;
  hrtc.Init.OutPutType = RTC_OUTPUT_TYPE_OPENDRAIN;
  hrtc.Init.OutPutPullUp = RTC_OUTPUT_PULLUP_NONE;
  if (HAL_RTC_Init(&hrtc) != HAL_OK)
  {
    Error_Handler();
  }

  /** Enable the WakeUp
  */
  if (HAL_RTCEx_SetWakeUpTimer_IT(&hrtc, 1023, RTC_WAKEUPCLOCK_RTCCLK_DIV16) != HAL_OK)
  {
    Error_Handler();
  }
  /* USER CODE BEGIN RTC_Init 2 */
	RTC_DateTypeDef startDate = { 0 };
	startDate.Date = 26;
	startDate.Month = 2;
	startDate.Year = 25;

	RTC_TimeTypeDef startTime = { 0 };
	startTime.Hours = 22;
	startTime.Minutes = 12;
	startTime.Seconds = 42;

	if (HAL_RTC_SetDate(&hrtc, &startDate, RTC_FORMAT_BIN) != HAL_OK) {
		Error_Handler();
	}
	if (HAL_RTC_SetTime(&hrtc, &startTime, RTC_FORMAT_BIN) != HAL_OK) {
		Error_Handler();
	}

  /* USER CODE END RTC_Init 2 */

}

static void MX_SPI1_Init(void)
{

  /* SPI1 parameter configuration*/
  hspi1.Instance = SPI1;
  hspi1.Init.Mode = SPI_MODE_MASTER;
  hspi1.Init.Direction = SPI_DIRECTION_2LINES;
  hspi1.Init.DataSize = SPI_DATASIZE_8BIT;
  hspi1.Init.CLKPolarity = SPI_POLARITY_LOW;
  hspi1.Init.CLKPhase = SPI_PHASE_1EDGE;
  hspi1.Init.NSS = SPI_NSS_SOFT;
  hspi1.Init.BaudRatePrescaler = SPI_BAUDRATEPRESCALER_8;
  hspi1.Init.FirstBit = SPI_FIRSTBIT_MSB;
  hspi1.Init.TIMode = SPI_TIMODE_DISABLE;
  hspi1.Init.CRCCalculation = SPI_CRCCALCULATION_DISABLE;
  hspi1.Init.CRCPolynomial = 7;
  hspi1.Init.CRCLength = SPI_CRC_LENGTH_DATASIZE;
  hspi1.Init.NSSPMode = SPI_NSS_PULSE_ENABLE;
  if (HAL_SPI_Init(&hspi1) != HAL_OK)
  {
    Error_Handler();
  }

}

static void MX_SPI2_Init(void)
{

  /* SPI2 parameter configuration*/
  hspi2.Instance = SPI2;
  hspi2.Init.Mode = SPI_MODE_MASTER;
  hspi2.Init.Direction = SPI_DIRECTION_2LINES;
  hspi2.Init.DataSize = SPI_DATASIZE_8BIT;
  hspi2.Init.CLKPolarity = SPI_POLARITY_LOW;
  hspi2.Init.CLKPhase = SPI_PHASE_1EDGE;
  hspi2.Init.NSS = SPI_NSS_SOFT;
  hspi2.Init.BaudRatePrescaler = SPI_BAUDRATEPRESCALER_256;
  hspi2.Init.FirstBit = SPI_FIRSTBIT_MSB;
  hspi2.Init.TIMode = SPI_TIMODE_DISABLE;
  hspi2.Init.CRCCalculation = SPI_CRCCALCULATION_DISABLE;
  hspi2.Init.CRCPolynomial = 7;
  hspi2.Init.CRCLength = SPI_CRC_LENGTH_DATASIZE;
  hspi2.Init.NSSPMode = SPI_NSS_PULSE_ENABLE;
  if (HAL_SPI_Init(&hspi2) != HAL_OK)
  {
    Error_Handler();
  }

}

static void MX_TIM2_Init(void)
{

  TIM_ClockConfigTypeDef sClockSourceConfig = {0};
  TIM_MasterConfigTypeDef sMasterConfig = {0};

  htim2.Instance = TIM2;
  htim2.Init.Prescaler = 15;
  htim2.Init.CounterMode = TIM_COUNTERMODE_UP;
  htim2.Init.Period = 799;
  htim2.Init.ClockDivision = TIM_CLOCKDIVISION_DIV1;
  htim2.Init.AutoReloadPreload = TIM_AUTORELOAD_PRELOAD_DISABLE;
  if (HAL_TIM_Base_Init(&htim2) != HAL_OK)
  {
    Error_Handler();
  }
  sClockSourceConfig.ClockSource = TIM_CLOCKSOURCE_INTERNAL;
  if (HAL_TIM_ConfigClockSource(&htim2, &sClockSourceConfig) != HAL_OK)
  {
    Error_Handler();
  }
  sMasterConfig.MasterOutputTrigger = TIM_TRGO_UPDATE;
  sMasterConfig.MasterSlaveMode = TIM_MASTERSLAVEMODE_ENABLE;
  if (HAL_TIMEx_MasterConfigSynchronization(&htim2, &sMasterConfig) != HAL_OK)
  {
    Error_Handler();
  }

}

static void MX_USART2_UART_Init(void)
{

  huart2.Instance = USART2;
  huart2.Init.BaudRate = 57600;
  huart2.Init.WordLength = UART_WORDLENGTH_9B;
  huart2.Init.StopBits = UART_STOPBITS_1;
  huart2.Init.Parity = UART_PARITY_EVEN;
  huart2.Init.Mode = UART_MODE_TX_RX;
  huart2.Init.HwFlowCtl = UART_HWCONTROL_NONE;
  huart2.Init.OverSampling = UART_OVERSAMPLING_16;
  huart2.Init.OneBitSampling = UART_ONE_BIT_SAMPLE_DISABLE;
  huart2.Init.ClockPrescaler = UART_PRESCALER_DIV1;
  huart2.AdvancedInit.AdvFeatureInit = UART_ADVFEATURE_NO_INIT;
  if (HAL_UART_Init(&huart2) != HAL_OK)
  {
    Error_Handler();
  }
  if (HAL_UARTEx_SetTxFifoThreshold(&huart2, UART_TXFIFO_THRESHOLD_1_8) != HAL_OK)
  {
    Error_Handler();
  }
  if (HAL_UARTEx_SetRxFifoThreshold(&huart2, UART_RXFIFO_THRESHOLD_1_8) != HAL_OK)
  {
    Error_Handler();
  }
  if (HAL_UARTEx_DisableFifoMode(&huart2) != HAL_OK)
  {
    Error_Handler();
  }

}

static void MX_DMA_Init(void)
{

  /* DMA controller clock enable */
  __HAL_RCC_DMA1_CLK_ENABLE();
  __HAL_RCC_DMA2_CLK_ENABLE();

  /* DMA interrupt init */
  /* DMA1_Channel1_IRQn interrupt configuration */
  HAL_NVIC_SetPriority(DMA1_Channel1_IRQn, 1, 0);
  HAL_NVIC_EnableIRQ(DMA1_Channel1_IRQn);
  /* DMA1_Ch4_7_DMA2_Ch1_5_DMAMUX1_OVR_IRQn interrupt configuration */
  HAL_NVIC_SetPriority(DMA1_Ch4_7_DMA2_Ch1_5_DMAMUX1_OVR_IRQn, 0, 0);
  HAL_NVIC_EnableIRQ(DMA1_Ch4_7_DMA2_Ch1_5_DMAMUX1_OVR_IRQn);

}

static void MX_GPIO_Init(void)
{
  GPIO_InitTypeDef GPIO_InitStruct = {0};

  /* GPIO Ports Clock Enable */
  __HAL_RCC_GPIOC_CLK_ENABLE();
  __HAL_RCC_GPIOF_CLK_ENABLE();
  __HAL_RCC_GPIOA_CLK_ENABLE();
  __HAL_RCC_GPIOB_CLK_ENABLE();

  /*Configure GPIO pin Output Level */
  HAL_GPIO_WritePin(RFID_CS_GPIO_Port, RFID_CS_Pin, GPIO_PIN_RESET);

  /*Configure GPIO pin Output Level */
  HAL_GPIO_WritePin(GPIOC, ROW4_Pin|D4_Pin|CS__SD_Pin|ROW1_Pin, GPIO_PIN_RESET);

  /*Configure GPIO pin Output Level */
  HAL_GPIO_WritePin(GPIOA, D2_Pin|D3_Pin|ROW3_Pin|ROW2_Pin
                          |RFID_RST_Pin, GPIO_PIN_RESET);

  /*Configure GPIO pin Output Level */
  HAL_GPIO_WritePin(D5_GPIO_Port, D5_Pin, GPIO_PIN_RESET);

  /*Configure GPIO pin : DEBUG_BTN_Pin */
  GPIO_InitStruct.Pin = DEBUG_BTN_Pin;
  GPIO_InitStruct.Mode = GPIO_MODE_IT_FALLING;
  GPIO_InitStruct.Pull = GPIO_NOPULL;
  HAL_GPIO_Init(DEBUG_BTN_GPIO_Port, &GPIO_InitStruct);

  /*Configure GPIO pin : RFID_CS_Pin */
  GPIO_InitStruct.Pin = RFID_CS_Pin;
  GPIO_InitStruct.Mode = GPIO_MODE_OUTPUT_PP;
  GPIO_InitStruct.Pull = GPIO_NOPULL;
  GPIO_InitStruct.Speed = GPIO_SPEED_FREQ_LOW;
  HAL_GPIO_Init(RFID_CS_GPIO_Port, &GPIO_InitStruct);

  /*Configure GPIO pins : ROW4_Pin D4_Pin ROW1_Pin */
  GPIO_InitStruct.Pin = ROW4_Pin|D4_Pin|ROW1_Pin;
  GPIO_InitStruct.Mode = GPIO_MODE_OUTPUT_PP;
  GPIO_InitStruct.Pull = GPIO_NOPULL;
  GPIO_InitStruct.Speed = GPIO_SPEED_FREQ_LOW;
  HAL_GPIO_Init(GPIOC, &GPIO_InitStruct);

  /*Configure GPIO pin : COL3_Pin */
  GPIO_InitStruct.Pin = COL3_Pin;
  GPIO_InitStruct.Mode = GPIO_MODE_INPUT;
  GPIO_InitStruct.Pull = GPIO_PULLDOWN;
  HAL_GPIO_Init(COL3_GPIO_Port, &GPIO_InitStruct);

  /*Configure GPIO pin : PUSHBTN_Pin */
  GPIO_InitStruct.Pin = PUSHBTN_Pin;
  GPIO_InitStruct.Mode = GPIO_MODE_IT_FALLING;
  GPIO_InitStruct.Pull = GPIO_PULLUP;
  HAL_GPIO_Init(PUSHBTN_GPIO_Port, &GPIO_InitStruct);

  /*Configure GPIO pin : COL2_Pin */
  GPIO_InitStruct.Pin = COL2_Pin;
  GPIO_InitStruct.Mode = GPIO_MODE_INPUT;
  GPIO_InitStruct.Pull = GPIO_PULLDOWN;
  HAL_GPIO_Init(COL2_GPIO_Port, &GPIO_InitStruct);

  /*Configure GPIO pins : D2_Pin D3_Pin ROW3_Pin ROW2_Pin
                           RFID_RST_Pin */
  GPIO_InitStruct.Pin = D2_Pin|D3_Pin|ROW3_Pin|ROW2_Pin
                          |RFID_RST_Pin;
  GPIO_InitStruct.Mode = GPIO_MODE_OUTPUT_PP;
  GPIO_InitStruct.Pull = GPIO_NOPULL;
  GPIO_InitStruct.Speed = GPIO_SPEED_FREQ_LOW;
  HAL_GPIO_Init(GPIOA, &GPIO_InitStruct);

  /*Configure GPIO pin : COL1_Pin */
  GPIO_InitStruct.Pin = COL1_Pin;
  GPIO_InitStruct.Mode = GPIO_MODE_INPUT;
  GPIO_InitStruct.Pull = GPIO_PULLDOWN;
  HAL_GPIO_Init(COL1_GPIO_Port, &GPIO_InitStruct);

  /*Configure GPIO pin : CS__SD_Pin */
  GPIO_InitStruct.Pin = CS__SD_Pin;
  GPIO_InitStruct.Mode = GPIO_MODE_OUTPUT_PP;
  GPIO_InitStruct.Pull = GPIO_PULLUP;
  GPIO_InitStruct.Speed = GPIO_SPEED_FREQ_LOW;
  HAL_GPIO_Init(CS__SD_GPIO_Port, &GPIO_InitStruct);

  /*Configure GPIO pin : D5_Pin */
  GPIO_InitStruct.Pin = D5_Pin;
  GPIO_InitStruct.Mode = GPIO_MODE_OUTPUT_PP;
  GPIO_InitStruct.Pull = GPIO_NOPULL;
  GPIO_InitStruct.Speed = GPIO_SPEED_FREQ_LOW;
  HAL_GPIO_Init(D5_GPIO_Port, &GPIO_InitStruct);

  /*Configure GPIO pin : RFID_IRQ_Pin */
  GPIO_InitStruct.Pin = RFID_IRQ_Pin;
  GPIO_InitStruct.Mode = GPIO_MODE_IT_FALLING;
  GPIO_InitStruct.Pull = GPIO_PULLUP;
  HAL_GPIO_Init(RFID_IRQ_GPIO_Port, &GPIO_InitStruct);

  /* EXTI interrupt init*/
  HAL_NVIC_SetPriority(EXTI4_15_IRQn, 1, 0);
  HAL_NVIC_EnableIRQ(EXTI4_15_IRQn);

}

/* USER CODE BEGIN 4 */

void add_units(uint32_t units) {
	float new_amt = units_left + units / 1000.0;
	if (floor(new_amt) <= 999.0) {
		units_left = new_amt;
	}
}

void add_unit_digit(int8_t digit) {
	if (!(newunits >= 10000)) {
		newunits = newunits * 10 + digit;
	}
}

void add_keypress(char key) {
	if (num_keys < 9) {
		num_keys++;
		key_buffer[num_keys] = key;
	}
}

void toggle_load(enum load_options option) {
	if (option == toggle) {
		option = HAL_GPIO_ReadPin(GPIOA, GPIO_PIN_8);
	}

	if (option == off) {
		HAL_GPIO_WritePin(GPIOA, GPIO_PIN_8, GPIO_PIN_RESET);
	} else if (units_left > 0.0) {
		HAL_GPIO_WritePin(GPIOA, GPIO_PIN_8, GPIO_PIN_SET);
	}

}

void poll_keypad(void) {
	uint16_t new_mask = 0;

	GPIOC->BSRR = (uint32_t) GPIO_PIN_7;
	if (GPIOB->IDR & GPIO_PIN_0) {
		new_mask |= 1 << 2;
	}
	if (GPIOA->IDR & GPIO_PIN_9) {
		new_mask |= 1 << 1;
	}
	if (GPIOC->IDR & GPIO_PIN_1) {
		new_mask |= 1 << 3;
	}
	GPIOC->BRR = (uint32_t) GPIO_PIN_7;

	GPIOA->BSRR = (uint32_t) GPIO_PIN_12;
	if (GPIOB->IDR & GPIO_PIN_0) {
		new_mask |= 1 << 5;
	}
	if (GPIOA->IDR & GPIO_PIN_9) {
		new_mask |= 1 << 4;
	}
	if (GPIOC->IDR & GPIO_PIN_1) {
		new_mask |= 1 << 6;
	}
	GPIOA->BRR = (uint32_t) GPIO_PIN_12;

	GPIOA->BSRR = (uint32_t) GPIO_PIN_11;
	if (GPIOB->IDR & GPIO_PIN_0) {
		new_mask |= 1 << 8;
	}
	if (GPIOA->IDR & GPIO_PIN_9) {
		new_mask |= 1 << 7;
	}
	if (GPIOC->IDR & GPIO_PIN_1) {
		new_mask |= 1 << 9;
	}
	GPIOA->BRR = (uint32_t) GPIO_PIN_11;

	GPIOC->BSRR = (uint32_t) GPIO_PIN_0;
	if (GPIOB->IDR & GPIO_PIN_0) {
		new_mask |= 1 << 0;
	}
	if (GPIOA->IDR & GPIO_PIN_9) {
		new_mask |= 1 << 10;
	}
	if (GPIOC->IDR & GPIO_PIN_1) {
		new_mask |= 1 << 11;
	}
	GPIOC->BRR = (uint32_t) GPIO_PIN_0;

	uint16_t new_activations = new_mask & (~keypad_mask);
	char keys[] = "0123456789*#";
	if (new_activations) {
		for (int i = 0; i < 12; i++) {
			if (new_activations & 1 << i) {
				add_keypress(keys[i]);
			}
		}
	}
	keypad_mask = new_mask;
}

void stats() {
	RTC_DateTypeDef currDate;
	RTC_TimeTypeDef currTime;
	HAL_RTC_GetTime(&hrtc, &currTime, RTC_FORMAT_BIN);
	HAL_RTC_GetDate(&hrtc, &currDate, RTC_FORMAT_BIN);

	float apparent = voltageReal * currentReal / 1000.0;
	float powerFact = fabs(cos(phaseReal));
	float real = apparent * powerFact;
	float reactive = apparent * sin(phaseReal);
	//REACTIVE CAN BE NEGATIVE - SHOWS LEADING OR LAGGING

	char message[221];

	sprintf(message, "20%02u/%02u/%02u %02u:%02u:%02u\n"
			"Voltage:     %05.1fV\n"
			"Current:    %05.0fmA\n"
			"Phase:    % 06.3frad\n"
			"Apparent:    %04.0fVA\n"
			"Real:         %04.0fW\n"
			"Reactive:  % 05.0fVAR\n"
			"PowerFact:    %05.3f\n"
			"Energy/d:   00000Wh\n"
			"MaxPower:     3000W\n"
			"Units:   %07.3fkWh\n", currDate.Year, currDate.Month,
			currDate.Date, currTime.Hours, currTime.Minutes, currTime.Seconds,
			voltageReal, currentReal, phaseReal, apparent, real, reactive,
			powerFact, units_left);

	HAL_UART_Transmit(&huart2, (uint8_t*) message, sizeof(message) - 1, 100);
}

void clear_file(void) {
	fres = f_unlink("log.csv");
	if (fres != FR_OK) {
		//THIS ONLY HAPPENS IF FILE IS ALREADY GONE
		f_close(&fil);
		f_unlink("log.csv");
		//toggle_load(toggle);
	}
}

void handle_inputs(uint8_t *data, uint8_t len) {
	const char *commands[] = { "*CLF#", "*Log#", "*Stat#", "*Load#", "*Dump#",
			"*Units" }; //TODO: Units command support
	char *cast_data = (char*) data;
	if (len == 5) { //CLF, Log
		if (!strncmp(cast_data, commands[0], 5)) {
			if (!logging) {
				clear_file();
			}
		} else if (!strncmp(cast_data, commands[1], 5)) {
			logging = !logging;
			FILINFO fno;
			fres = f_stat("log.csv", &fno);
			uint8_t file_exists = (fres == FR_OK);

			fres = f_open(&fil, "log.csv", FA_OPEN_APPEND | FA_WRITE);
			if (!file_exists && fres == FR_OK) {

//				const char header[] =
//						"Date and time,Voltage (V),Current (mA),Phase (rad),Units left (kWh)\n";
//				f_write(&fil, header, sizeof(header) - 1, &bw);
			}
			f_close(&fil);
		}

	} else if (len == 6) { //Stat, Load, Dump
		if (!strncmp(cast_data, commands[2], 6)) {
			stat_ready = 1;
		} else if (!strncmp(cast_data, commands[3], 6)) {
			if (HAL_GPIO_ReadPin(PUSHBTN_GPIO_Port, PUSHBTN_Pin)) {
				toggle_load(toggle);
			}
		} else if (!strncmp(cast_data, commands[4], 6)) {
			dump_ready = 1;
		}
	} else if (len == 12) { //Units
		if (!strncmp(cast_data, commands[5], 6) && cast_data[11] == '#') {
			cast_data[11] = '\0';
			uint32_t units_to_add = atoi(cast_data + 6);
			if (units_to_add != 0) {
				for (uint32_t i = 6; i < 11; i++) {
					if (!isdigit((unsigned char )cast_data[i])) {
						return;
					}
				}
				newunits = units_to_add;
				menu_states[lvl3] = 3; //emulate having just entered the units
				rfid_timeout = HAL_GetTick();
				activateAntenna();
				rfid_state = poll;
				status = MI_ERR; //trick the loop into doing the work for us
			}
		}
	}
}

void HAL_UART_RxCpltCallback(UART_HandleTypeDef *huart) {
	switch (rx) { //fill buffer based on simple state machine - commands should start at '*'
	case '*': //reset input buffer when a star is seen
		input_buf_len = 1;
		input_buffer[0] = '*';
		break;
	case '\n': //handle input on '\n'
		handle_inputs(input_buffer, input_buf_len);
		input_buf_len = 0;
		break;
	default:
		input_buffer[input_buf_len] = rx;
		input_buf_len = (input_buf_len + 1) % 16;
		//reset if more chars than 16
		//star case guarantees real commands won't be lost anyways
		break;
	}

	HAL_UART_Receive_IT(&huart2, &rx, 1); //You need to toggle a breakpoint on this line!
}

void process(uint16_t *startPos) { //assume 100 measurements
	//TODO maybe split the conversion up again - zero wasn't needed
	//SIGNAL GENERATOR CALIBRATED
	const int maxInC = 3973;
	const int minInC = 342;

	const int maxInV = 4000;
	const int minInV = 363;

	const float tau = 2 * 3.1415926535;

	float interpolated_pos[2];
	uint32_t peak_peak[2];

	for (uint16_t wave = 0; wave < 2; wave++) {
		//---- MAX AND MIN ----------------------
		startPos += wave;
		uint32_t max = 0;
		uint32_t min = 4095;
		uint32_t pos_max = 0;    //position of max value
		uint32_t pos_min = 0;
		for (uint16_t i = 0; i < 200; i += 2) {
			if (*(startPos + i) > max) {
				max = *(startPos + i);
				pos_max = i;
			}
			if (*(startPos + i) < min) {
				min = *(startPos + i);
				pos_min = i;
			}

		}
//		if(pos_min==0&&startPos==(waves+1)){
//			pos_max+=1;
//			HAL_TIM_Base_Stop(&htim2);
//			uint16_t* testpt =waves;
//			HAL_TIM_Base_Start(&htim2);
//		}
		peak_peak[wave] = max - min;
		//--- PHASE ------------------------------
		uint16_t zero_pos;
		uint32_t after_zero, before_zero;
		float phase_shift = 0.0;

		pos_max /= 2;
		pos_min /= 2;
		if (pos_max > pos_min) {
			zero_pos = 2 * (pos_min + (((pos_max - pos_min) * 7) >> 4)); //start 87.5% the to the zero
			while (zero_pos < 200 && *(startPos + zero_pos) < ((max + min) / 2)) {
				zero_pos += 2;
			}
			phase_shift = 50;

		} else {
			zero_pos = 2 * (pos_max + (((pos_min - pos_max) * 7) >> 4)); //start 87.5% the to the zero
			while (zero_pos < 200 && *(startPos + zero_pos) > ((max + min) / 2)) {
				zero_pos += 2;
			}
		}

		after_zero = *(startPos + zero_pos);
		before_zero = *(startPos + zero_pos - 2);
		interpolated_pos[wave] = zero_pos / 2.0 + phase_shift
				+ ((float) ((max + min) / 2) - after_zero)
						/ ((float) after_zero - before_zero);
	}
	//phase calc
	float phase = interpolated_pos[0] - interpolated_pos[1];
	phase = phase * (tau / 100.0);

	// -- CURRENT CALC --------------
	const float maxOutC = 15000.0;

	currentReal = ((maxOutC) / (maxInC - minInC) * ((float) peak_peak[0]));

	if (currentReal <= 250.0) {
		currentReal = 0.0;
		phase = 0.0;
	}

	// -- VOLTAGE CALC -------------
	const float maxOutV = 253.0;

	voltageReal = ((maxOutV) / (maxInV - minInV) * ((float) peak_peak[1]));

	if (voltageReal <= 2.3) {
		voltageReal = 0.0;
		phase = 0.0;
	}

	if (isnan(phase) || isinf(phase)) {    //cheeky nan check
		phase = 0.0;
	}
	phase = fmod(phase, tau);
	if (phase > tau / 2.0) {
		phase -= tau;
	} else if (phase < -tau / 2.0) {
		phase += tau;
	}

	phaseReal = phase;    //*(9.0/(tau*25.0));// <- convert to degrees

	voltageAvg += voltageReal;
	currentAvg += currentReal;
	powAvg += voltageReal * currentReal / 1000.0 * cos(phaseReal);
	phaseAvg += phase;
	n++;
}

void HAL_GPIO_EXTI_Falling_Callback(uint16_t GPIO_Pin) {
	if (GPIO_Pin == PUSHBTN_Pin) {
		push_button_pressed = 1;
		button_time = HAL_GetTick();
	} else if (GPIO_Pin == DEBUG_BTN_Pin) {
		debug_button_pressed = 1;
		debug_button_time = HAL_GetTick();
	}

}

void HAL_ADC_ConvCpltCallback(ADC_HandleTypeDef *hadc) {
	process(&waves[200]);
}

void HAL_ADC_ConvHalfCpltCallback(ADC_HandleTypeDef *hadc) {
	process(&waves[0]);
}

void activateAntenna() {    //TODO test here?
	AntennaOn();
	//HAL_TIM_Base_Stop(&htim2);
}

void deactivateAntenna() {
	AntennaOff();
	//HAL_TIM_Base_Start(&htim2);
}

uint8_t stopped_logging = 0;

void dump_file(TCHAR *filename) {
#define CHUNK_SIZE 512
	//pause logging if possible.
	if (logging) {
		logging = 0;
		stopped_logging = 1;
	}
	uint8_t buffer[CHUNK_SIZE];
	DWORD read_offset = 0;
	UINT bytesRead, bytesWritten;
	fres = f_open(&fil, filename, FA_READ | FA_WRITE);
	if (fres == FR_NO_FILE)
		dump_ready = 0;
	if (fres != FR_OK)
		return;

	do {
		fres = f_lseek(&fil, read_offset); // Seek to the current offset
		if (fres != FR_OK) {
			f_close(&fil);
			break;
		}

		fres = f_read(&fil, buffer, CHUNK_SIZE, &bytesRead);

		if (fres != FR_OK || bytesRead == 0)
			break;

		HAL_UART_Transmit(&huart2, buffer, bytesRead, HAL_MAX_DELAY);

		read_offset += bytesRead;

		//Try sneak in a log if possible
		if (log_len > 0) {
			//HAL_TIM_Base_Stop(&htim2);
			fres = f_lseek(&fil, f_size(&fil));
			fres = f_write(&fil, logbuff, log_len, &bytesWritten);
			if (fres == FR_OK) {
				log_len = 0;
			}
			//ADC_back_on = HAL_GetTick();//DEAL WITH THIS PROPERLY LOL TODO
		}

	} while (bytesRead == CHUNK_SIZE);
	f_close(&fil);
	dump_ready = 0;

	if (stopped_logging) {
		logging = 1;
		stopped_logging = 0;
	}
}

uint8_t chirality = 0;

void HAL_RTCEx_WakeUpTimerEventCallback(RTC_HandleTypeDef *hrtc) { //happens every 500ms. Chirality dictates when 1s passes
	if (hrtc != 0) { //if this was a valid call
		chirality = ~chirality;

		if (units_left < 10.0) {
			HAL_GPIO_TogglePin(D3_GPIO_Port, D3_Pin);
		} else {
			HAL_GPIO_WritePin(D3_GPIO_Port, D3_Pin, GPIO_PIN_RESET);
		}
		if (fabs(voltageReal * currentReal / 1000.0 * cos(phaseReal))
				> 3000.0) {
			HAL_GPIO_TogglePin(D5_GPIO_Port, D5_Pin);
		} else {
			HAL_GPIO_WritePin(D5_GPIO_Port, D5_Pin, GPIO_PIN_RESET);
		}

		if (n > 0) {
			voltageAvg /= (float) n;
			currentAvg /= (float) n;
			powAvg /= (float) n;
			phaseAvg /= (float) n;

			n = 0;
			if (count_units) {
				units_left -= powAvg / (7200000.0); //taking no chances - 60 sec * 60 min * 1000(kilo) * 2(HZ)

				if (units_left <= 0.0) {
					units_left = 0.0;
					toggle_load(off);
				}
			}

		}
	}

	if (!logging || chirality) {
		voltageAvg = 0.0;
		currentAvg = 0.0;
		phaseAvg = 0.0;
		powAvg = 0.0;
		return;
	}

	char line[51];
	//"YYYY/mm/dd HH:mm:ss xxx.x xxxxx x.xxx xxx.xxx"
	RTC_DateTypeDef currDate;
	RTC_TimeTypeDef currTime;
	HAL_RTC_GetTime(hrtc, &currTime, RTC_FORMAT_BIN);
	HAL_RTC_GetDate(hrtc, &currDate, RTC_FORMAT_BIN);
	snprintf(line, sizeof(line),
			"20%02u/%02u/%02u %02u:%02u:%02u,%05.1f,%05.0f,%05.3f,%07.3f\n",
			currDate.Year, currDate.Month, currDate.Date, currTime.Hours,
			currTime.Minutes, currTime.Seconds, voltageAvg, currentAvg,
			phaseAvg, units_left);
	size_t linelen = strlen(line); //TODO HARDCODE THIS
	memcpy((logbuff + log_len), line, linelen);
	log_len += linelen;

	voltageAvg = 0.0;
	currentAvg = 0.0;
	powAvg = 0.0;
	phaseAvg = 0.0;
}

/* USER CODE END 4 */

void Error_Handler(void)
{
	__disable_irq();
	while (1) {
	}
}
